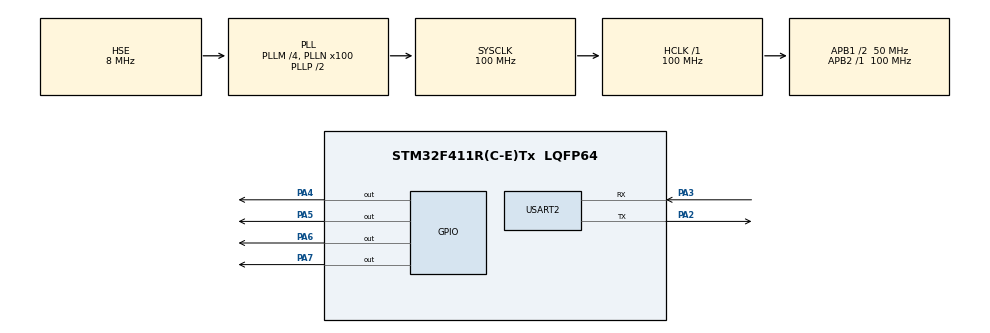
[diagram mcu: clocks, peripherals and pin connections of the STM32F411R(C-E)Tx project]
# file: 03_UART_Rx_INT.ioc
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Mcu.Family=STM32F4
Mcu.Name=STM32F411R(C-E)Tx
Mcu.Package=LQFP64
NVIC.PriorityGroup=NVIC_PRIORITYGROUP_4
NVIC.USART2_IRQn=true\:0\:0\:false\:false\:true\:true\:true\:true
PA13.Mode=Serial_Wire
PA13.Signal=SYS_JTMS-SWDIO
PA14.Mode=Serial_Wire
PA14.Signal=SYS_JTCK-SWCLK
PA2.Mode=Asynchronous
PA2.Signal=USART2_TX
PA3.Mode=Asynchronous
PA3.Signal=USART2_RX
PA4.Signal=GPIO_Output
PA5.Signal=GPIO_Output
PA6.Signal=GPIO_Output
PA7.Signal=GPIO_Output
PH0\ -\ OSC_IN.Mode=HSE-External-Oscillator
PH0\ -\ OSC_IN.Signal=RCC_OSC_IN
PH1\ -\ OSC_OUT.Mode=HSE-External-Oscillator
PH1\ -\ OSC_OUT.Signal=RCC_OSC_OUT
ProjectManager.HeapSize=0x200
ProjectManager.StackSize=0x400
ProjectManager.TargetToolchain=STM32CubeIDE
RCC.48MHZClocksFreq_Value=50000000
RCC.AHBFreq_Value=100000000
RCC.APB1CLKDivider=RCC_HCLK_DIV2
RCC.APB1Freq_Value=50000000
RCC.APB1TimFreq_Value=100000000
RCC.APB2Freq_Value=100000000
RCC.APB2TimFreq_Value=100000000
RCC.CortexFreq_Value=100000000
RCC.HCLKFreq_Value=100000000
RCC.HSE_VALUE=8000000
RCC.HSI_VALUE=16000000
RCC.LSE_VALUE=32768
RCC.PLLM=4
RCC.PLLN=100
RCC.PLLSourceVirtual=RCC_PLLSOURCE_HSE
RCC.SYSCLKFreq_VALUE=100000000
RCC.SYSCLKSource=RCC_SYSCLKSOURCE_PLLCLK
RCC.VCOOutputFreq_Value=200000000
USART2.VirtualMode=VM_ASYNC
board=custom

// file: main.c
/* USER CODE BEGIN Header */
/**
  ******************************************************************************
  * @file           : main.c
  * @brief          : Main program body
  ******************************************************************************
  * @attention
  *
  * Copyright (c) 2025 STMicroelectronics.
  * All rights reserved.
  *
  * This software is licensed under terms that can be found in the LICENSE file
  * in the root directory of this software component.
  * If no LICENSE file comes with this software, it is provided AS-IS.
  *
  ******************************************************************************
  */
/* USER CODE END Header */
#include "main.h"
#include "usart.h"
#include "gpio.h"

/* USER CODE BEGIN PV */

uint8_t rxData;

/* USER CODE END PV */

void SystemClock_Config(void);
/* USER CODE BEGIN PFP */

void HAL_UART_RxCpltCallback(UART_HandleTypeDef *huart)
{
	if (huart->Instance == USART2)  // UART2 인터럽트 발생 시
	    {
			switch(rxData) {
			case '1':
				HAL_GPIO_TogglePin(GPIOA, GPIO_PIN_4);
				break;
			case '2':
				HAL_GPIO_TogglePin(GPIOA, GPIO_PIN_5);
				break;
			case '3':
				HAL_GPIO_TogglePin(GPIOA, GPIO_PIN_6);
				break;
			case '4':
				HAL_GPIO_TogglePin(GPIOA, GPIO_PIN_7);
				break;
			default:
				break;
			}

//        HAL_GPIO_TogglePin(GPIOA, GPIO_PIN_5);  // LED 토글 (ON/OFF)
		HAL_UART_Transmit_IT(&huart2, &rxData, 1);
	    HAL_UART_Receive_IT(&huart2, &rxData, 1);  // 다음 데이터 수신 요청

	    }

}

/* USER CODE END PFP */

int main(void)
{

  /* MCU Configuration--------------------------------------------------------*/

  /* Reset of all peripherals, Initializes the Flash interface and the Systick. */
  HAL_Init();

  /* Configure the system clock */
  SystemClock_Config();

  /* Initialize all configured peripherals */
  MX_GPIO_Init();
  MX_USART2_UART_Init();
  /* USER CODE BEGIN 2 */

  //인터럽트 활성화
  HAL_UART_Receive_IT(&huart2, &rxData, 1);

  /* USER CODE END 2 */

  /* Infinite loop */
  /* USER CODE BEGIN WHILE */
  while (1)
  {
//	  HAL_UART_Receive(&huart2, rxData, 4, 100);
//
//	  HAL_GPIO_TogglePin(GPIOA, GPIO_PIN_5);
//	  HAL_Delay(200);
    /* USER CODE END WHILE */

  }
}

void SystemClock_Config(void)
{
  RCC_OscInitTypeDef RCC_OscInitStruct = {0};
  RCC_ClkInitTypeDef RCC_ClkInitStruct = {0};

  /** Configure the main internal regulator output voltage
  */
  __HAL_RCC_PWR_CLK_ENABLE();
  __HAL_PWR_VOLTAGESCALING_CONFIG(PWR_REGULATOR_VOLTAGE_SCALE1);

  /** Initializes the RCC Oscillators according to the specified parameters
  * in the RCC_OscInitTypeDef structure.
  */
  RCC_OscInitStruct.OscillatorType = RCC_OSCILLATORTYPE_HSE;
  RCC_OscInitStruct.HSEState = RCC_HSE_ON;
  RCC_OscInitStruct.PLL.PLLState = RCC_PLL_ON;
  RCC_OscInitStruct.PLL.PLLSource = RCC_PLLSOURCE_HSE;
  RCC_OscInitStruct.PLL.PLLM = 4;
  RCC_OscInitStruct.PLL.PLLN = 100;
  RCC_OscInitStruct.PLL.PLLP = RCC_PLLP_DIV2;
  RCC_OscInitStruct.PLL.PLLQ = 4;
  if (HAL_RCC_OscConfig(&RCC_OscInitStruct) != HAL_OK)
  {
    Error_Handler();
  }

  /** Initializes the CPU, AHB and APB buses clocks
  */
  RCC_ClkInitStruct.ClockType = RCC_CLOCKTYPE_HCLK|RCC_CLOCKTYPE_SYSCLK
                              |RCC_CLOCKTYPE_PCLK1|RCC_CLOCKTYPE_PCLK2;
  RCC_ClkInitStruct.SYSCLKSource = RCC_SYSCLKSOURCE_PLLCLK;
  RCC_ClkInitStruct.AHBCLKDivider = RCC_SYSCLK_DIV1;
  RCC_ClkInitStruct.APB1CLKDivider = RCC_HCLK_DIV2;
  RCC_ClkInitStruct.APB2CLKDivider = RCC_HCLK_DIV1;

  if (HAL_RCC_ClockConfig(&RCC_ClkInitStruct, FLASH_LATENCY_3) != HAL_OK)
  {
    Error_Handler();
  }
}

void Error_Handler(void)
{
  __disable_irq();
  while (1)
  {
  }
}
